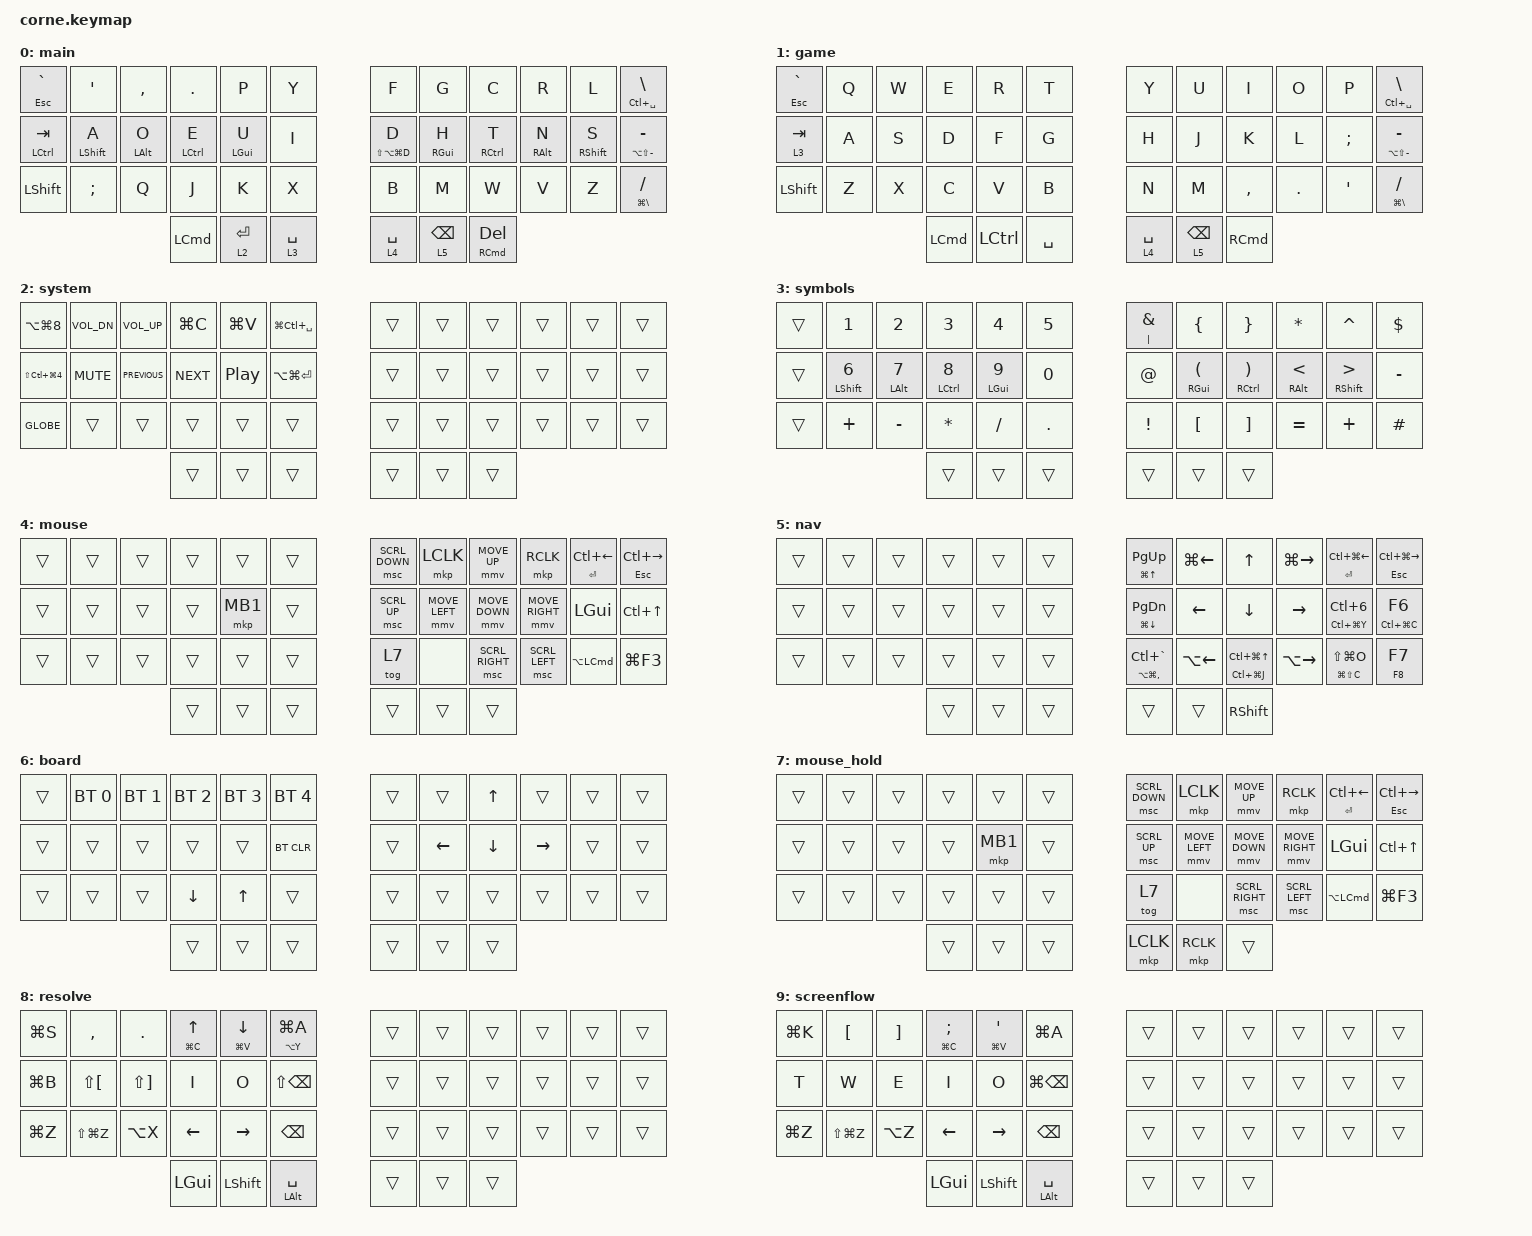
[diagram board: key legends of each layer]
/*
 * Copyright (c) 2020 The ZMK Contributors
 * SPDX-License-Identifier: MIT
 */

#define ZMK_POINTING_DEFAULT_MOVE_VAL 1800  // default: 600
#define ZMK_POINTING_DEFAULT_SCRL_VAL 30    // default: 10

#include <behaviors.dtsi>
#include <dt-bindings/zmk/bt.h>
#include <dt-bindings/zmk/keys.h>
#include <dt-bindings/zmk/pointing.h>

&mmv {
    time-to-max-speed-ms = <400>;
    acceleration-exponent = <1>;
};

&mt {
    tapping-term-ms = <300>;
    quick-tap-ms = <150>;
    flavor = "tap-preferred";
};

&lt {
    quick-tap-ms = <150>;
    flavor = "hold-preferred";
};

/ {
    behaviors {
        hml: home_row_mod_left {
            compatible = "zmk,behavior-hold-tap";
            #binding-cells = <2>;
            flavor = "tap-preferred";
            require-prior-idle-ms = <150>;
            tapping-term-ms = <250>;
            quick-tap-ms = <175>;
            bindings = <&kp>, <&kp>;
            hold-trigger-key-positions = <6 7 9 10 11 18 19 21 22 23 30 31 32 33 34 35 39 40 41 8 20>; // right side home row key positions
            hold-trigger-on-release;
        };

        hmr: home_row_mod_right {
            compatible = "zmk,behavior-hold-tap";
            #binding-cells = <2>;
            flavor = "tap-preferred";
            require-prior-idle-ms = <150>;
            tapping-term-ms = <250>;
            quick-tap-ms = <175>;
            bindings = <&kp>, <&kp>;
            hold-trigger-key-positions = <0 1 2 4 5 12 13 14 15 16 17 24 25 26 27 28 29 36 37 38>; // left side home row key positions
            hold-trigger-on-release;
        };

        ht: hold_tap {
            compatible = "zmk,behavior-hold-tap";
            #binding-cells = <2>;
            bindings = <&kp>, <&kp>;
            tapping-term-ms = <250>;
            quick-tap-ms = <150>;
            flavor = "tap-preferred";
            fire-hold-as-tap;
        };

        ltt: layer_tap_tap_preferred {
            compatible = "zmk,behavior-hold-tap";
            #binding-cells = <2>;
            tapping-term-ms = <250>;
            quick-tap-ms = <150>;
            flavor = "tap-preferred";
            bindings = <&mo>, <&kp>;
        };
    };

    combos {
        compatible = "zmk,combos";

        combo_f1 {
            bindings = <&kp F1>;
            key-positions = <1 13>;
            layers = <2>;
        };

        combo_f2 {
            bindings = <&kp F2>;
            key-positions = <2 14>;
            layers = <2>;
        };

        combo_f3 {
            bindings = <&kp F3>;
            key-positions = <3 15>;
            layers = <2>;
        };

        combo_f4 {
            bindings = <&kp F4>;
            key-positions = <4 16>;
            layers = <2>;
        };

        combo_f5 {
            bindings = <&kp F5>;
            key-positions = <17 5>;
            layers = <2>;
        };

        combo_f6 {
            bindings = <&kp F6>;
            key-positions = <6 18>;
            layers = <2>;
        };

        combo_f7 {
            bindings = <&kp F7>;
            key-positions = <7 19>;
            layers = <2>;
        };

        combo_f8 {
            bindings = <&kp F8>;
            key-positions = <20 8>;
            layers = <2>;
        };

        combo_f9 {
            bindings = <&kp F9>;
            key-positions = <9 21>;
            layers = <2>;
        };

        combo_f10 {
            bindings = <&kp F10>;
            key-positions = <10 22>;
            layers = <2>;
        };

        combo_f11 {
            bindings = <&kp F11>;
            key-positions = <11 23>;
            layers = <2>;
        };

        combo_f12 {
            bindings = <&kp F12>;
            key-positions = <23 35>;
            layers = <2>;
        };

        combo_vi_prev {
            bindings = <&kp HASH>;
            key-positions = <6 7>;
            layers = <5>;
        };

        combo_vi_next {
            bindings = <&kp STAR>;
            key-positions = <18 19>;
            layers = <5>;
        };

        combo_vi_start {
            bindings = <&kp CARET>;
            key-positions = <19 7>;
            layers = <5>;
        };

        combo_vi_end {
            bindings = <&kp DOLLAR>;
            key-positions = <9 21>;
            layers = <5>;
        };

        combo_vi_match {
            bindings = <&kp PERCENT>;
            key-positions = <31 30>;
            layers = <5>;
        };

        combo_space {
            bindings = <&kp SPACE>;
            key-positions = <37 29>;
        };

        qwerty_toggle {
            bindings = <&tog 1>;
            key-positions = <39 41 40>;
        };

        resolve_toggle {
            bindings = <&tog 8>;
            key-positions = <36 37>;
        };

        screenflow_toggle {
            bindings = <&tog 9>;
            key-positions = <36 37 38>;
        };
    };

    conditional_layers {
        compatible = "zmk,conditional-layers";

        tri_layer {
            if-layers = <2 3>;
            then-layer = <6>;
        };
    };

    keymap {
        compatible = "zmk,keymap";

        main {
            bindings = <
&ht ESCAPE GRAVE  &kp SQT       &kp COMMA    &kp DOT       &kp P         &kp Y          &kp F                &kp G            &kp C         &kp R        &kp L          &ht LC(SPACE) BACKSLASH
&mt LCTRL TAB     &hml LSHFT A  &hml LALT O  &hml LCTRL E  &hml LGUI U   &kp I          &mt LS(LA(LG(D))) D  &hmr RGUI H      &hmr RCTRL T  &hmr RALT N  &hmr RSHIFT S  &ht LA(LS(MINUS)) MINUS
&kp LSHFT         &kp SEMI      &kp Q        &kp J         &kp K         &kp X          &kp B                &kp M            &kp W         &kp V        &kp Z          &ht LG(BACKSLASH) SLASH
                                             &kp LCMD      &lt 2 ENTER   &ltt 3 SPACE   &ltt 4 SPACE         &lt 5 BACKSPACE  &mt RCMD DEL
            >;
        };

        game {
            bindings = <
&ht ESCAPE GRAVE  &kp Q  &kp W  &kp E     &kp R        &kp T          &kp Y         &kp U            &kp I      &kp O    &kp P     &ht LC(SPACE) BACKSLASH
&lt 3 TAB         &kp A  &kp S  &kp D     &kp F        &kp G          &kp H         &kp J            &kp K      &kp L    &kp SEMI  &ht LA(LS(MINUS)) MINUS
&kp LSHFT         &kp Z  &kp X  &kp C     &kp V        &kp B          &kp N         &kp M            &kp COMMA  &kp DOT  &kp SQT   &ht LG(BACKSLASH) SLASH
                                &kp LCMD  &kp LCTRL    &kp SPACE      &ltt 4 SPACE  &lt 5 BACKSPACE  &kp RCMD
            >;
        };

        system {
            bindings = <
&kp LA(LG(N8))            &kp C_VOL_DN  &kp C_VOLUME_UP  &kp LG(C)   &kp LG(V)         &kp LG(LC(SPACE))    &trans  &trans  &trans  &trans  &trans  &trans
&kp LS(LC(LG(NUMBER_4)))  &kp C_MUTE    &kp C_PREVIOUS   &kp C_NEXT  &kp C_PLAY_PAUSE  &kp LA(LG(ENTER))    &trans  &trans  &trans  &trans  &trans  &trans
&kp GLOBE                 &trans        &trans           &trans      &trans            &trans               &trans  &trans  &trans  &trans  &trans  &trans
                                                         &trans      &trans            &trans               &trans  &trans  &trans
            >;
        };

        symbols {
            bindings = <
&trans  &kp NUMBER_1   &kp NUMBER_2  &kp NUMBER_3   &kp NUMBER_4  &kp N5        &mt PIPE AMPS  &kp LEFT_BRACE              &kp RIGHT_BRACE               &kp ASTERISK         &kp CARET                 &kp DOLLAR
&trans  &hml LSHFT N6  &hml LALT N7  &hml LCTRL N8  &hml LGUI N9  &kp N0        &kp AT         &hmr RGUI LEFT_PARENTHESIS  &hmr RCTRL RIGHT_PARENTHESIS  &hmr RALT LESS_THAN  &hmr RSHIFT GREATER_THAN  &kp MINUS
&trans  &kp PLUS       &kp MINUS     &kp ASTERISK   &kp SLASH     &kp PERIOD    &kp EXCL       &kp LEFT_BRACKET            &kp RIGHT_BRACKET             &kp EQUAL            &kp PLUS                  &kp HASH
                                     &trans         &trans        &trans        &trans         &trans                      &trans
            >;
        };

        mouse {
            bindings = <
&trans  &trans  &trans  &trans  &trans    &trans    &msc SCRL_DOWN  &mkp LCLK       &mmv MOVE_UP     &mkp RCLK        &ht ENTER LC(LEFT)  &ht ESCAPE LC(RIGHT)
&trans  &trans  &trans  &trans  &mkp MB1  &trans    &msc SCRL_UP    &mmv MOVE_LEFT  &mmv MOVE_DOWN   &mmv MOVE_RIGHT  &kp LGUI            &kp LC(UP_ARROW)
&trans  &trans  &trans  &trans  &trans    &trans    &tog 7          &none           &msc SCRL_RIGHT  &msc SCRL_LEFT   &kp LA(LCMD)        &kp LG(F3)
                        &trans  &trans    &trans    &trans          &trans          &trans
            >;
        };

        nav {
            bindings = <
&trans  &trans  &trans  &trans  &trans  &trans    &ht LG(UP_ARROW) PAGE_UP      &kp LG(LEFT)        &kp UP_ARROW                    &kp LG(RIGHT)  &ht ENTER LC(LG(LEFT_ARROW))  &ht ESCAPE LC(LG(RIGHT))
&trans  &trans  &trans  &trans  &trans  &trans    &ht LG(DOWN_ARROW) PAGE_DOWN  &kp LEFT            &kp DOWN_ARROW                  &kp RIGHT      &ht LC(LG(Y)) LC(NUMBER_6)    &ht LC(LG(C)) F6
&trans  &trans  &trans  &trans  &trans  &trans    &ht LA(LG(COMMA)) LC(GRAVE)   &kp LA(LEFT_ARROW)  &ht LC(LG(J)) LC(LG(UP_ARROW))  &kp LA(RIGHT)  &ht LG(LS(C)) LS(LG(O))       &ht F8 F7
                        &trans  &trans  &trans    &trans                        &trans              &kp RSHIFT
            >;
        };

        board {
            bindings = <
&trans  &bt BT_SEL 0  &bt BT_SEL 1  &bt BT_SEL 2  &bt BT_SEL 3  &bt BT_SEL 4    &trans  &trans    &kp UP    &trans     &trans  &trans
&trans  &trans        &trans        &trans        &trans        &bt BT_CLR      &trans  &kp LEFT  &kp DOWN  &kp RIGHT  &trans  &trans
&trans  &trans        &trans        &kp DOWN      &kp UP        &trans          &trans  &trans    &trans    &trans     &trans  &trans
                                    &trans        &trans        &trans          &trans  &trans    &trans
            >;
        };

        mouse_hold {
            bindings = <
&trans  &trans  &trans  &trans  &trans    &trans    &msc SCRL_DOWN  &mkp LCLK       &mmv MOVE_UP     &mkp RCLK        &ht ENTER LC(LEFT)  &ht ESCAPE LC(RIGHT)
&trans  &trans  &trans  &trans  &mkp MB1  &trans    &msc SCRL_UP    &mmv MOVE_LEFT  &mmv MOVE_DOWN   &mmv MOVE_RIGHT  &kp LGUI            &kp LC(UP_ARROW)
&trans  &trans  &trans  &trans  &trans    &trans    &tog 7          &none           &msc SCRL_RIGHT  &msc SCRL_LEFT   &kp LA(LCMD)        &kp LG(F3)
                        &trans  &trans    &trans    &mkp LCLK       &mkp RCLK       &trans
            >;
        };

        resolve {
            bindings = <
&kp LG(S)  &kp COMMA             &kp DOT                &ht LG(C) UP  &ht LG(V) DOWN  &ht LA(Y) LG(A)       &trans  &trans  &trans  &trans  &trans  &trans
&kp LG(B)  &kp LS(LEFT_BRACKET)  &kp LS(RIGHT_BRACKET)  &kp I         &kp O           &kp LS(BACKSPACE)     &trans  &trans  &trans  &trans  &trans  &trans
&kp LG(Z)  &kp LS(LG(Z))         &kp LA(X)              &kp LEFT      &kp RIGHT       &kp BACKSPACE         &trans  &trans  &trans  &trans  &trans  &trans
                                                        &kp LGUI      &kp LSHFT       &mt LEFT_ALT SPACE    &trans  &trans  &trans
            >;
        };

        screenflow {
            bindings = <
&kp LG(K)  &kp LBKT       &kp RBKT   &ht LG(C) SEMI  &ht LG(V) SQT  &kp LG(A)             &trans  &trans  &trans  &trans  &trans  &trans
&kp T      &kp W          &kp E      &kp I           &kp O          &kp LG(BSPC)          &trans  &trans  &trans  &trans  &trans  &trans
&kp LG(Z)  &kp LS(LG(Z))  &kp LA(Z)  &kp LEFT        &kp RIGHT      &kp BSPC              &trans  &trans  &trans  &trans  &trans  &trans
                                     &kp LGUI        &kp LSHFT      &mt LEFT_ALT SPACE    &trans  &trans  &trans
            >;
        };
    };
};
